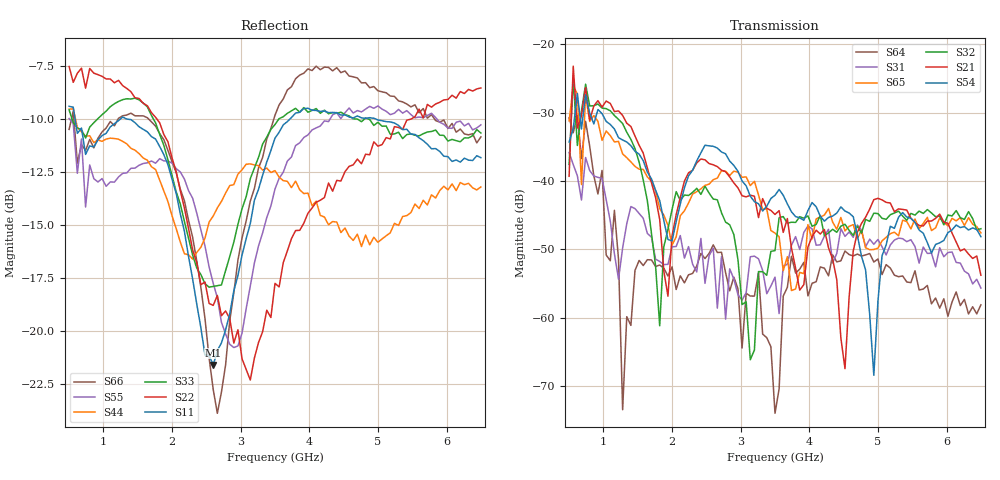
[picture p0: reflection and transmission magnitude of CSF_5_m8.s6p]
!Keysight Technologies,M9804A,MY58100912,A.14.10.03
!Date: Thursday, April 27, 2023 10:28:33
!Correction: S11(C  6-Port  )
!S12(C  6-Port  )
!S13(C  6-Port  )
!S14(C  6-Port  )
!S15(C  6-Port  )
!S16(C  6-Port  )
!S21(C  6-Port  )
!S22(C  6-Port  )
!S23(C  6-Port  )
!S24(C  6-Port  )
!S25(C  6-Port  )
!S26(C  6-Port  )
!S31(C  6-Port  )
!S32(C  6-Port  )
!S33(C  6-Port  )
!S34(C  6-Port  )
!S35(C  6-Port  )
!S36(C  6-Port  )
!S41(C  6-Port  )
!S42(C  6-Port  )
!S43(C  6-Port  )
!S44(C  6-Port  )
!S45(C  6-Port  )
!S46(C  6-Port  )
!S51(C  6-Port  )
!S52(C  6-Port  )
!S53(C  6-Port  )
!S54(C  6-Port  )
!S55(C  6-Port  )
!S56(C  6-Port  )
!S61(C  6-Port  )
!S62(C  6-Port  )
!S63(C  6-Port  )
!S64(C  6-Port  )
!S65(C  6-Port  )
!S66(C  6-Port  )
!S6P File: Measurement: :
# Hz S  RI  R 50
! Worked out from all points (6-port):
!   101 points, 500 MHz to 6.5 GHz, reference 50 ohm
!   strongest paths, dB at 500 MHz, 2 GHz, 3.5 GHz, 5 GHz, 6.5 GHz:
!     S54: -34.3, -48.7, -42.1, -57.6, -48.1
!     S21: -39.3, -48.0, -44.9, -42.5, -53.8
!     S32: -37.5, -44.1, -50.2, -44.8, -47.0
!     S65: -31.2, -49.4, -47.6, -49.8, -47.6
!     S31: -35.8, -49.6, -54.1, -48.5, -55.7
!     S64: -30.7, -52.6, -74.0, -51.4, -58.1
!   lowest |S11| = -21.6 dB at 2.6 GHz (marker M1), VSWR 1.18, Z = 42.6 + j2.06 ohm
!   |S11| at or under -10 dB: 587.8 MHz to 1.243 GHz (654.9 MHz wide, 71.6 % of centre); 1.361 GHz to 3.715 GHz (2.354 GHz wide, 92.8 % of centre); 4.975 GHz to end of sweep
